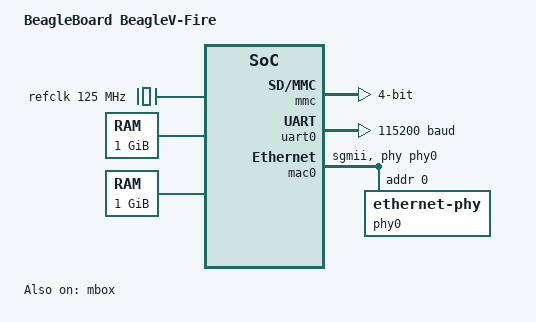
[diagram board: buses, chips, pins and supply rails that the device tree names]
/dts-v1/;

/ {
	#address-cells = <2>;
	#size-cells = <2>;
	model = "BeagleBoard BeagleV-Fire";
	compatible = "beagleboard,beaglev-fire", "microchip,mpfs";

	cpus {
		#address-cells = <1>;
		#size-cells = <0>;
		timebase-frequency = <1000000>;

		cpu1: cpu@1 {
			compatible = "sifive,u54-mc", "sifive,rocket0", "riscv";
			device_type = "cpu";
			mmu-type = "riscv,sv39";
			reg = <1>;
			riscv,isa = "rv64imafdc";
			riscv,isa-base = "rv64i";
			riscv,isa-extensions = "i\0m\0a\0f\0d\0c\0zicntr\0zicsr\0zifencei\0zihpm";
			clocks = <&clkcfg 0x00>;
			status = "okay";

			cpu1_intc: interrupt-controller {
				#interrupt-cells = <0x01>;
				#address-cells = <1>;
				#size-cells = <0>;
				compatible = "riscv,cpu-intc";
				interrupt-controller;
			};
		};
	};

	refclk: mssrefclk {
		compatible = "fixed-clock";
		#clock-cells = <0>;
		clock-frequency = <125000000>;
	};

	soc {
		#address-cells = <2>;
		#size-cells = <2>;
		compatible = "simple-bus";
		ranges;

		clint@2000000 {
			compatible = "sifive,clint0";
			reg = <0x00 0x2000000 0x0 0xC000>;
			interrupts-extended = <&cpu1_intc 0x03 &cpu1_intc 0x07>;
		};

		clkcfg: clkcfg@20002000 {
			compatible = "microchip,mpfs-clkcfg";
			reg = <0x00 0x20002000 0x00 0x1000 0x00 0x3e001000 0x00 0x1000>;
			clocks = <&refclk>;
			#clock-cells = <0x01>;
			#reset-cells = <0x01>;
			phandle = <0x01>;
		};

		plic: interrupt-controller@c000000 {
			compatible = "sifive,plic-1.0.0";
			reg = <0x0 0xc000000>, <0x0 0x4000000>;
			#interrupt-cells = <1>;
			#address-cells = <2>;
			riscv,ndev = <186>;
			interrupt-controller;
			interrupts-extended = <&cpu1_intc 11 &cpu1_intc 9>;
		};

		mmc: mmc@20008000 {
			compatible = "microchip,mpfs-sd4hc","cdns,sd4hc";
			reg = <0x0 0x20008000 0x0 0x1000>;
			interrupt-parent = <&plic>;
			interrupts = <0x58>;
			clocks = <&clkcfg 0x06>;
			bus-width = <0x04>;
			disable-wp;
			cap-sd-highspeed;
			cap-mmc-highspeed;
			mmc-ddr-1_8v;
			mmc-hs200-1_8v;
			sd-uhs-sdr12;
			sd-uhs-sdr25;
			sd-uhs-sdr50;
			sd-uhs-sdr104;
			card-detect-delay = <200>;
			max-frequency = <200000000>;
			status = "okay";
		};

		uart0: serial@20000000 {
			compatible = "ns16550a";
			reg = <0x0 0x20000000 0x0 0x400>;
			reg-io-width = <4>;
			reg-shift = <2>;
			interrupt-parent = <&plic>;
			interrupts = <90>;
			current-speed = <115200>;
			clocks = <&clkcfg 8>;
			status = "okay";
		};

		mac0: ethernet@20110000 {
			compatible = "microchip,mpfs-macb", "cdns,macb";
			reg = <0x00 0x20110000>, <0x0 0x2000>;
			#address-cells = <0x01>;
			#size-cells = <0x00>;
			interrupt-parent = <&plic>;
			interrupts = <0x40 0x41 0x42 0x43 0x44 0x45>;
			local-mac-address = [00 00 00 00 00 00];
			clocks = <&clkcfg 0x05>, <&clkcfg 0x02>;
			clock-names = "pclk", "hclk";
			status = "okay";
			phy-mode = "sgmii";
			phy-handle = <&phy0>;
			phy0: ethernet-phy@0 {
				reg = <0>;
			};
		};

		mbox: mailbox@37020000 {
			compatible = "microchip,mpfs-mailbox";
			reg = <0x0 0x37020000 0x0 0x1000>, <0x0 0x2000318C 0x0 0x40>;
			interrupt-parent = <&plic>;
			interrupts = <0x60>;
			#mbox-cells = <1>;
			status = "okay";
		};

		syscontroller: syscontroller {
			compatible = "microchip,mpfs-sys-controller", "simple-bus";
			#address-cells = <1>;
			#size-cells = <1>;
			mboxes = <&mbox 0>;
			status = "okay";
		};
	};

	aliases {
		serial0 = &uart0;
		ethernet0 = &mac0;
	};

	chosen {
		stdout-path = "serial0:115200n8";
	};

	memory@80000000 {
		device_type = "memory";
		reg = <0x0 0x80000000>, <0x0 0x40000000>;
		status = "okay";
	};

	memory@1040000000 {
		device_type = "memory";
		reg = <0x10 0x40000000>, <0x00 0x40000000>;
		status = "okay";
	};

	reserved-memory {
		#address-cells = <2>;
		#size-cells = <2>;
		ranges;

		hss: hss-buffer@103fc00000 {
			reg = <0x10 0x3fc00000>, <0x0 0x400000>;
			no-map;
		};
	};
};
